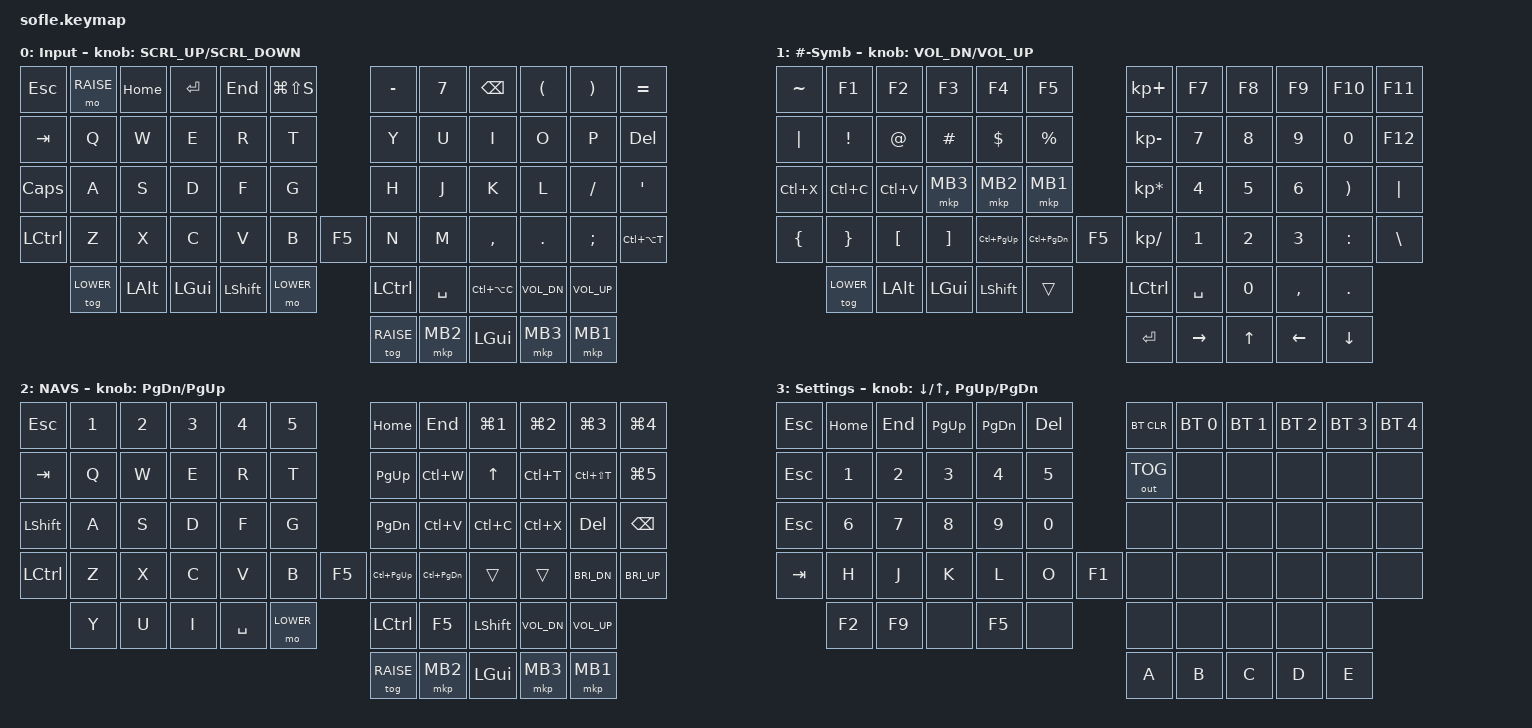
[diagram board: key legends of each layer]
/*
 * Copyright (c) 2020 The ZMK Contributors
 *
 * SPDX-License-Identifier: MIT
 */

// NOTE: Ensure in sofle.conf: CONFIG_ZMK_POINTING=y
// Adjust scroll step if desired (default is 10)
#define ZMK_POINTING_DEFAULT_SCRL_VAL 10

#include <behaviors.dtsi>
#include <dt-bindings/zmk/keys.h>
#include <dt-bindings/zmk/bt.h>
#include <dt-bindings/zmk/rgb.h>
#include <dt-bindings/zmk/ext_power.h>
#include <dt-bindings/zmk/mouse.h>
#include <dt-bindings/zmk/outputs.h>
#include <dt-bindings/zmk/pointing.h>


#define BASE 0
#define LOWER 1
#define RAISE 2
#define ADJUST 3

/ {

    // Activate ADJUST layer by pressing raise and lower
    conditional_layers {
        compatible = "zmk,conditional-layers";
        adjust_layer {
            if-layers = <LOWER RAISE>;
            then-layer = <ADJUST>;
        };
    };

    // --- Behaviors -----------------------------------------------------------------
    behaviors {
        // Rotate behavior that can call &msc with per-direction params
        rot_scroll: rot_scroll {
            compatible = "zmk,behavior-sensor-rotate-var";
            #sensor-binding-cells = <2>;
            bindings = <&msc>, <&msc>;
        };
    };

    keymap {
        compatible = "zmk,keymap";

        default_layer {
            label = "Input";
// -----------------------------------------------------------------------------------------------------------
// |  ESC  |  RAISE | home |  RET |  end | SCREEN |                 |  -   |  7    | BKSPC |  (   |   )   |   =   |
// |  TAB  |  Q  |  W  |  E   |  R   |  T   |                       |  Y   |  U    |  I    |  O   |   P   | DEL   |
// |  CAPS |  A  |  S  |  D   |  F   |  G   |                       |  H   |  J    |  K    |  L   |   /   |   '   |
// | SHIFT |  Z  |  X  |  C   |  V   |  B   |  F5  |  |           |  N   |  M    |  ,    |  .   |   ;   | TERMINAL |
//               | LOWER| ALT  | LGUI | SHIFT|  LOWER |  | LCTRL | SPACE| calc  | vol down   | vol up  |
            bindings = <
&kp ESC &mo RAISE &kp HOME   &kp RET   &kp END    &kp LG(LS(S))               &kp MINUS &kp N7    &kp BSPC    &kp LPAR   &kp RPAR   &kp EQUAL
&kp TAB   &kp Q  &kp W    &kp E    &kp R     &kp T                            &kp Y  &kp U     &kp I     &kp O    &kp P    &kp DEL
&kp CAPS   &kp A  &kp S    &kp D    &kp F     &kp G                           &kp H  &kp J     &kp K     &kp L    &kp FSLH &kp SQT
&kp LCTRL &kp Z  &kp X    &kp C    &kp V     &kp B      &kp F5                &kp N  &kp M     &kp COMMA &kp DOT  &kp SEMI &kp LC(LA(T))
                 &tog LOWER &kp LALT &kp LGUI &kp LSHIFT  &mo LOWER    &kp LCTRL  &kp SPACE  &kp LC(LA(C)) &kp K_VOL_DN  &kp K_VOL_UP
                                                                      &tog RAISE     &mkp MB2  &kp LGUI &mkp MB3  &mkp MB1
            >;

            // Encoder: real mouse scroll
            sensor-bindings = <&rot_scroll SCRL_UP SCRL_DOWN>;
        };

        lower_layer {
            label = "#-Symb";
// TODO: Some binds are waiting for shifted keycode support.
// ------------------------------------------------------------------------------------------------------------
// |    ~  |  F1 |  F2 |  F3  |  F4  |  F5  |                     |  +   |  F7   |  F8   |  F9  |  F10  |  F11  |
// |   |   |  !  |  @  |  #   |  $   |  %   |                     |  -   |  7    |  8    |  9   |   0   |  F12  |
// |  CUT  | COPY| PASTE |  MK3 |  MK2 | MK1  |                   |  *   |  4    |  5    |  6   |   )   |   |   |
// |   {   |  }  |  [  |  ]   | pg dn | pg up |        |  |       |  /   |  1    |  2    |  3   |   ;   |   \   |
//        | TOG LOWER | DOWN  |  GUI  | SHIFT |        |  |       |  space  |  0    |  ,    |  .   |
            bindings = <
&kp TILDE  &kp F1    &kp F2    &kp F3      &kp F4    &kp F5                       &kp KP_PLUS     &kp F7   &kp F8  &kp F9  &kp F10   &kp F11
&kp PIPE   &kp EXCL  &kp AT    &kp HASH    &kp DLLR  &kp PRCNT                     &kp KP_MINUS    &kp N7   &kp N8  &kp N9  &kp N0    &kp F12
&kp LC(X)   &kp LC(C) &kp LC(V)  &mkp MB3 &mkp MB2  &mkp MB1                 &kp KP_MULTIPLY &kp N4   &kp N5  &kp N6  &kp RPAR  &kp PIPE
&kp LBRC &kp RBRC &kp LBKT  &kp RBKT &kp LC(PG_UP)  &kp LC(PG_DN) &kp F5         &kp KP_DIVIDE   &kp N1   &kp N2  &kp N3  &kp COLON &kp BSLH
         &tog LOWER     &kp LALT   &kp LGUI    &kp LSHIFT     &trans                  &kp LCTRL  &kp SPACE       &kp N0   &kp COMMA    &kp DOT
                                                                         &kp RET   &kp RIGHT  &kp UP &kp LEFT  &kp DOWN
            >;

            // Encoder: volume down/up via keys
            sensor-bindings = <&inc_dec_kp K_VOL_DN K_VOL_UP>;

        };

        raise_layer {
            label = "NAVS";
// ------------------------------------------------------------------------------------------------------------
// |   ESC |  1   |  2   |   3   |   4   |  5   |                | HOME | END   | BRWSER | FOLDER | SETTINGS |   N6  |
// |   TAB |  Q   |  W   |   E   |   R   |  T   |                | PGUP | LC(W) |   ^   | LC(T) | LC(LS(T)) |   N7  |
// | SHIFT |  A   |  S   |   D   |   F   |  G   |                | PGDN |  PASTE| COPY  |  CUT  |  DEL  | BKSPC |
// |  CTRL |  Z   |  X   |   C   |   V   |  B   |  F5  |   |     | tab- | tab+  |       |      | bright-|bright+ |
//                |  Y   |   U   |   I   | SPACE | LOWER|  | LCTRL | F5 | LSHIFT |vol-   |vol+  |
            bindings = <
&kp ESC     &kp N1       &kp N2     &kp N3    &kp N4   &kp N5                  &kp HOME      &kp END     &kp LG(N1)  &kp LG(N2)   &kp LG(N3)     &kp LG(N4)
&kp TAB     &kp Q        &kp W      &kp E     &kp R    &kp T                   &kp PG_UP     &kp LC(W)   &kp UP      &kp LC(T)    &kp LC(LS(T))  &kp LG(N5)
&kp LSHIFT  &kp A        &kp S      &kp D     &kp F    &kp G                   &kp PG_DN     &kp LC(V)    &kp LC(C)  &kp LC(X)    &kp DEL        &kp BSPC
&kp LCTRL   &kp Z        &kp X      &kp C     &kp V    &kp B      &kp F5       &kp LC(PG_UP) &kp LC(PG_DN) &trans    &trans       &kp C_BRI_DN   &kp C_BRI_UP
         &kp Y       &kp U       &kp I       &kp SPACE        &mo LOWER        &kp LCTRL  &kp F5    &kp LSHIFT    &kp K_VOL_DN  &kp K_VOL_UP
                                                                                      &tog RAISE &mkp MB2  &kp LGUI &mkp MB3  &mkp MB1
            >;

            // Encoder: page down/up via keys
            sensor-bindings = <&inc_dec_kp PG_DN PG_UP>;
        };

        adjust_layer {
// ----------------------------------------------------------------------------------------------------------------------------
// | BTCLR  |  BT1    |  BT2    |   BT3   |   BT4   |   BT5   |                  | BTCLR  |  BT1    |  BT2    |   BT3   |   BT4   |   BT5   |
// | EXTPWR | RGB_HUD | RGB_HUI | RGB_SAD | RGB_SAI | RGB_EFF |                  | BT TOG |      |       |      |       |       |
// |        | RGB_BRD | RGB_BRI |         |         |         |                  |      |      |       |      |       |       |
// |        |         |         |         |         |         | RGB_TOG | |      |      |      |       |      |       |       |
//                    |         |         |         |         |         | |      |      |      |       |      |
            label = "Settings";
            bindings = <
&kp ESC     &kp HOME     &kp END    &kp PG_UP  &kp PG_DN &kp DEL                         &bt BT_CLR &bt BT_SEL 0 &bt BT_SEL 1 &bt BT_SEL 2 &bt BT_SEL 3 &bt BT_SEL 4
&kp ESC     &kp N1       &kp N2     &kp N3     &kp N4    &kp N5                         &out OUT_TOG &none &none &none &none &none
&kp ESC     &kp N6       &kp N7     &kp N8     &kp N9    &kp N0                         &none &none &none &none &none &none
&kp TAB     &kp H        &kp J      &kp K      &kp L     &kp O     &kp F1                &none &none &none &none &none &none
            &kp F2        &kp F9      &none     &kp F5    &none                          &none  &none &none &none &none
                                                                                        &kp A      &kp B  &kp C &kp D  &kp E
           >;

            // Encoder: two separate tuples
            sensor-bindings = <&inc_dec_kp DOWN UP>, <&inc_dec_kp PG_UP PG_DN>;
        };

    };
};
